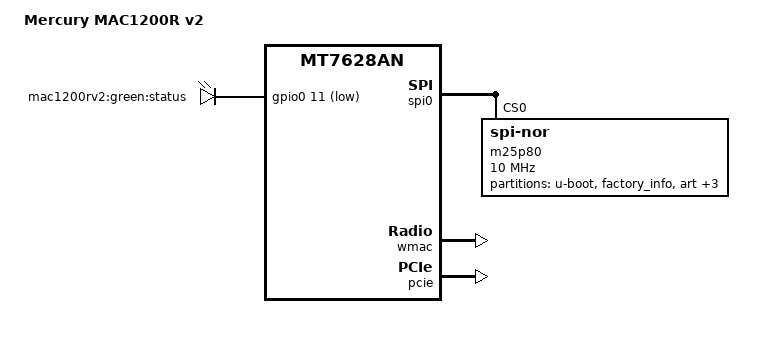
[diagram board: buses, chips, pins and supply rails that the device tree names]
/dts-v1/;

#include "mt7628an.dtsi"

#include <dt-bindings/gpio/gpio.h>
#include <dt-bindings/input/input.h>

/ {
	compatible = "mercury,mac1200r-v2", "mediatek,mt7628an-soc";
	model = "Mercury MAC1200R v2";

	aliases {
		led-boot = &led_status;
		led-failsafe = &led_status;
		led-running = &led_status;
		led-upgrade = &led_status;
	};

	chosen {
		bootargs = "console=ttyS0,57600";
	};

	leds {
		compatible = "gpio-leds";

		led_status: status {
			label = "mac1200rv2:green:status";
			gpios = <&gpio0 11 GPIO_ACTIVE_LOW>;
		};
	};
};

&spi0 {
	status = "okay";

	m25p80@0 {
		compatible = "jedec,spi-nor";
		reg = <0 0>;
		spi-max-frequency = <10000000>;

		partitions {
			compatible = "fixed-partitions";
			#address-cells = <1>;
			#size-cells = <1>;

			partition@0 {
				label = "u-boot";
				reg = <0x0 0x1d800>;
			};

			factory: partition@1d800 {
				label = "factory_info";
				reg = <0x1d800 0x800>;
				read-only;
			};

			art: partition@1e000 {
				label = "art";
				reg = <0x1e000 0x2000>;
				read-only;
			};

			partition@20000 {
				label = "config";
				reg = <0x20000 0x10000>;
			};

			partition@30000 {
				label = "u-boot2";
				reg = <0x30000 0x10000>;
			};

			partition@40000 {
				compatible = "denx,uimage";
				label = "firmware";
				reg = <0x40000 0x7c0000>;
			};
		};
	};
};

&ethernet {
	pinctrl-names = "default";
	mtd-mac-address = <&factory 0xd>;
};

&esw {
	mediatek,portmap = <0x2f>;
};

&wmac {
	status = "okay";
	ralink,mtd-eeprom = <&art 0x0>;
};

&pcie {
	status = "okay";
};

&pcie0 {
	mt76@0,0 {
		reg = <0x0000 0 0 0 0>;
		mediatek,mtd-eeprom = <&art 0x1000>;
		ieee80211-freq-limit = <5000000 6000000>;
	};
};
